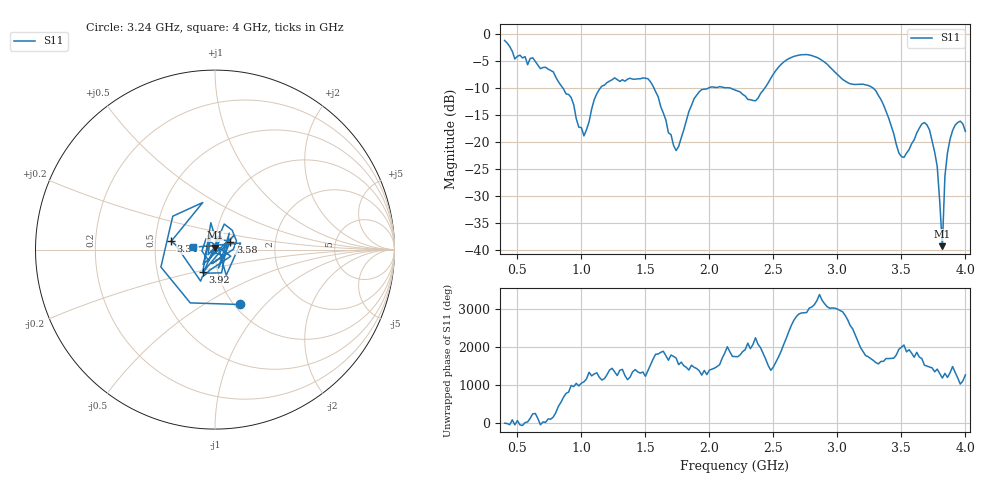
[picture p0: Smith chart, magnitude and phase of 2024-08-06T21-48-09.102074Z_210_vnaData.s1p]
!Created with skrf (http://scikit-rf.org).
# Hz S RI R 50.0
!freq ReS11 ImS11
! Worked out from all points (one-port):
!   181 points, 400 MHz to 4 GHz, reference 50 ohm
!   lowest |S11| = -39.4 dB at 3.82 GHz (marker M1), VSWR 1.02, Z = 49.9 + j1.07 ohm
!   |S11| at or under -10 dB: 855.9 MHz to 1.147 GHz (291.4 MHz wide, 29.1 % of centre); 1.567 GHz to 1.991 GHz (423.6 MHz wide, 23.8 % of centre); 3.28 GHz to end of sweep (the widest 3 of 4)
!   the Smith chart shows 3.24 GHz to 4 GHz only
!   S11 on the Smith chart (normalised r, x): 3.24 GHz: 1.06, -0.73; 3.34 GHz: 0.61, +0.06; 3.58 GHz: 1.18, +0.11; 3.92 GHz: 0.85, -0.22; 4 GHz: 0.78, +0.02
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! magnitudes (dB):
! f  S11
! 400 MHz  -1.1
! 480 MHz  -4.6
! 860 MHz  -10.1
! 1.02 GHz  -18.9
! 1.14 GHz  -10.2
! 1.3 GHz  -8.7
! 1.52 GHz  -8.2
! 1.72 GHz  -20.6
! 1.76 GHz  -20.8
! 1.92 GHz  -10.7
! 2.2 GHz  -10.3
! 2.36 GHz  -12.3
! 2.66 GHz  -4.1
! 2.84 GHz  -4.3
! 3.1 GHz  -9.2
! 3.24 GHz  -9.5
! 3.34 GHz  -12.1
! 3.48 GHz  -22.0
! 3.56 GHz  -21.4
! 3.58 GHz  -20.3
! 3.66 GHz  -16.6
! 3.72 GHz  -17.8
! 3.78 GHz  -24.6
! 3.82 GHz  -39.4
! 3.84 GHz  -26.4
! 3.88 GHz  -19.5
! 3.92 GHz  -16.9
! 4 GHz  -18.0
